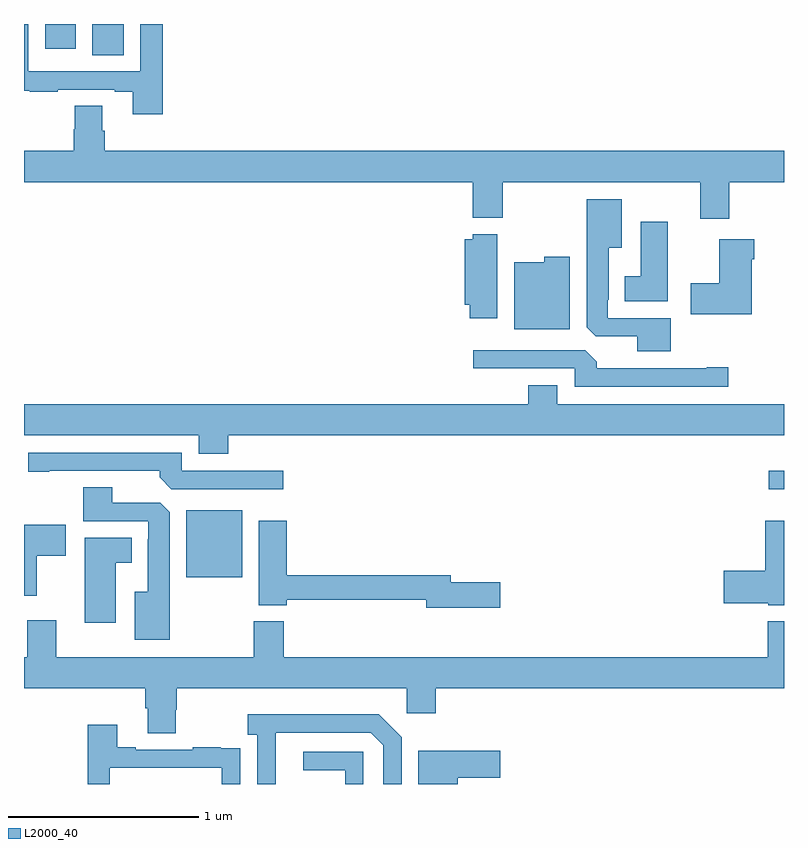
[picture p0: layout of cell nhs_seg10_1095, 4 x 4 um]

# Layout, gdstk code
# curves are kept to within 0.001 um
import gdstk
lib = gdstk.Library(unit=1e-6, precision=1e-09)
def R(c, l, rs):  # rectangles x0, y0, x1, y1
    for r in rs: c.add(gdstk.rectangle(r[:2], r[2:], *l))
def P(c, l, *ps):  # polygons
    for p in ps: c.add(gdstk.Polygon(p, *l))
L2000_40 = (2000, 40)

nhs_seg10_1095 = lib.new_cell('nhs_seg10_1095')
R(nhs_seg10_1095, L2000_40, [(167.855,1279.589,168.148,1279.942), (170.919,1280.052,171,1280.148), (167.36,1282.336,167.524,1282.5), (167.111,1282.371,167.272,1282.5)])
P(nhs_seg10_1095, L2000_40, [(167.729,1282.5),(167.613,1282.5),(167.613,1282.251),(167.022,1282.251),(167.022,1282.5),(167,1282.5),(167,1282.149),(167.029,1282.149),(167.029,1282.143),(167.177,1282.143),(167.177,1282.155),(167.477,1282.155),(167.477,1282.143),(167.573,1282.143),(167.573,1282.026),(167.729,1282.026)],
  [(170.711,1281.668),(171,1281.668),(171,1281.832),(167.426,1281.832),(167.426,1281.938),(167.413,1281.938),(167.413,1282.07),(167.266,1282.07),(167.266,1281.945),(167.261,1281.945),(167.261,1281.832),(167,1281.832),(167,1281.668),(169.361,1281.668),(169.361,1281.479),(169.521,1281.479),(169.521,1281.668),(170.558,1281.668),(170.558,1281.474),(170.711,1281.474)],
  [(170.404,1280.952),(170.073,1280.952),(170.073,1281.049),(170.077,1281.049),(170.077,1281.323),(170.146,1281.323),(170.146,1281.577),(169.961,1281.577),(169.961,1280.905),(170.01,1280.856),(170.228,1280.856),(170.228,1280.777),(170.404,1280.777)],
  [(170.389,1281.46),(170.246,1281.46),(170.246,1281.172),(170.162,1281.172),(170.162,1281.041),(170.389,1281.041)],
  [(169.492,1281.394),(169.362,1281.394),(169.362,1281.367),(169.319,1281.367),(169.319,1281.023),(169.346,1281.023),(169.346,1280.952),(169.492,1280.952)],
  [(170.83,1281.263),(170.843,1281.263),(170.843,1281.367),(170.66,1281.367),(170.66,1281.135),(170.508,1281.135),(170.508,1280.972),(170.83,1280.972)],
  [(169.873,1281.274),(169.737,1281.274),(169.737,1281.247),(169.58,1281.247),(169.58,1280.894),(169.873,1280.894)],
  [(170.707,1280.693),(170.594,1280.693),(170.594,1280.688),(170.015,1280.688),(170.015,1280.722),(169.953,1280.784),(169.365,1280.784),(169.365,1280.688),(169.899,1280.688),(169.899,1280.592),(170.707,1280.592)],
  [(168.074,1280.336),(171,1280.336),(171,1280.5),(169.807,1280.5),(169.807,1280.599),(169.655,1280.599),(169.655,1280.5),(167,1280.5),(167,1280.336),(167.921,1280.336),(167.921,1280.237),(168.074,1280.237)],
  [(168.364,1280.148),(167.829,1280.148),(167.829,1280.244),(167.022,1280.244),(167.022,1280.143),(167.134,1280.143),(167.134,1280.148),(167.714,1280.148),(167.714,1280.114),(167.775,1280.052),(168.364,1280.052)],
  [(167.767,1279.931),(167.718,1279.98),(167.464,1279.98),(167.464,1280.063),(167.312,1280.063),(167.312,1279.884),(167.655,1279.884),(167.655,1279.787),(167.651,1279.787),(167.651,1279.513),(167.582,1279.513),(167.582,1279.259),(167.767,1279.259)],
  [(169.507,1279.562),(169.246,1279.562),(169.246,1279.598),(168.383,1279.598),(168.383,1279.885),(168.236,1279.885),(168.236,1279.442),(168.383,1279.442),(168.383,1279.47),(169.118,1279.47),(169.118,1279.427),(169.507,1279.427)],
  [(171,1279.885),(170.9,1279.885),(170.9,1279.622),(170.682,1279.622),(170.682,1279.451),(170.916,1279.451),(170.916,1279.442),(171,1279.442)],
  [(167.068,1279.702),(167.221,1279.702),(167.221,1279.864),(167,1279.864),(167,1279.491),(167.068,1279.491)],
  [(167.482,1279.664),(167.566,1279.664),(167.566,1279.795),(167.321,1279.795),(167.321,1279.35),(167.482,1279.35)],
  [(167.799,1278.891),(167.804,1278.891),(167.804,1279.004),(169.014,1279.004),(169.014,1278.873),(169.166,1278.873),(169.166,1279.004),(171,1279.004),(171,1279.357),(170.915,1279.357),(170.915,1279.168),(168.368,1279.168),(168.368,1279.357),(168.208,1279.357),(168.208,1279.168),(167.17,1279.168),(167.17,1279.363),(167.018,1279.363),(167.018,1279.168),(167,1279.168),(167,1279.004),(167.639,1279.004),(167.639,1278.898),(167.651,1278.898),(167.651,1278.766),(167.799,1278.766)],
  [(168.324,1278.571),(168.325,1278.771),(168.825,1278.771),(168.891,1278.705),(168.891,1278.5),(168.987,1278.5),(168.987,1278.747),(168.866,1278.868),(168.177,1278.868),(168.177,1278.758),(168.228,1278.758),(168.228,1278.5),(168.324,1278.5)],
  [(167.451,1278.585),(168.042,1278.585),(168.042,1278.5),(168.138,1278.5),(168.138,1278.578),(168.137,1278.578),(168.137,1278.687),(168.035,1278.687),(168.035,1278.694),(167.887,1278.694),(167.887,1278.681),(167.587,1278.681),(167.587,1278.694),(167.491,1278.694),(167.491,1278.811),(167.335,1278.811),(167.335,1278.5),(167.451,1278.5)],
  [(169.283,1278.533),(169.507,1278.533),(169.507,1278.675),(169.076,1278.675),(169.076,1278.5),(169.283,1278.5)],
  [(168.786,1278.669),(168.471,1278.669),(168.471,1278.573),(168.69,1278.573),(168.69,1278.5),(168.786,1278.5)])

lib.write_gds('nhs_seg10_1095.gds')
